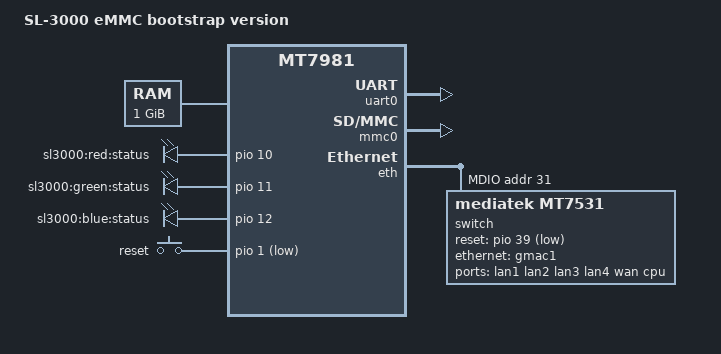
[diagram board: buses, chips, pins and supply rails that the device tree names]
// SPDX-License-Identifier: GPL-2.0-only
/dts-v1/;

#include <dt-bindings/interrupt-controller/arm-gic.h>
#include <dt-bindings/gpio/gpio.h>
#include <dt-bindings/input/input.h>

#include "mt7981-rfb.dtsi"

/ {
    compatible = "sl,sl3000-emmc", "mediatek,mt7981";
    model = "SL-3000 eMMC bootstrap version";

    chosen {
        bootargs = "console=ttyS0,115200n1 earlycon=uart8250,mmio32,0x11002000 root=PARTLABEL=rootfs rootwait rootfstype=squashfs,f2fs";
    };

    memory {
        device_type = "memory";
        reg = <0x0 0x40000000 0x0 0x40000000>; /* 1GB RAM */
    };

    aliases {
        led-boot    = &statusgreen;
        led-failsafe= &statusred;
        led-running = &statusgreen;
        led-upgrade = &statusblue;
    };
};

&uart0 {
    status = "okay";
};

&mmc0 {
    status = "okay";

    partitions {
        compatible = "fixed-partitions";
        #address-cells = <2>;
        #size-cells = <2>;

        partition@0 {
            label = "kernel";
            reg = <0x0 0x00000000 0x0 0x02000000>; /* 32MB */
        };

        partition@2000000 {
            label = "rootfs";
            reg = <0x0 0x02000000 0x0 0x20000000>; /* 512MB */
        };

        partition@22000000 {
            label = "rootfs_data";
            reg = <0x0 0x22000000 0x1 0x00000000>; /* 4GB */
        };

        partition@122000000 {
            label = "docker";
            reg = <0x0 0x122000000 0x0 0xEE0000000>; /* 60GB */
        };

        partition@522000000 {
            label = "swap";
            reg = <0x0 0x522000000 0x0 0x80000000>; /* 2GB */
        };

        partition@5a2000000 {
            label = "data";
            reg = <0x0 0x5A2000000 0x0 0xE40000000>; /* ~61GB */
        };
    };
};

&eth {
    status = "okay";

    gmac1: mac@1 {
        phy-mode = "2500base-x";
        fixed-link {
            speed = <2500>;
            full-duplex;
        };
    };

    mdio: mdio-bus {
        #address-cells = <1>;
        #size-cells = <0>;

        switch@1f {
            compatible = "mediatek,mt7531";
            reg = <0x1f>;
            reset-gpios = <&pio 39 GPIO_ACTIVE_LOW>; /* 建议确认极性 */

            ports {
                #address-cells = <1>;
                #size-cells = <0>;

                port@0 { reg = <0>; label = "lan1"; };
                port@1 { reg = <1>; label = "lan2"; };
                port@2 { reg = <2>; label = "lan3"; };
                port@3 { reg = <3>; label = "lan4"; };
                port@4 { reg = <4>; label = "wan"; };

                port@6 {
                    reg = <6>;
                    label = "cpu";
                    ethernet = <&gmac1>;
                    phy-mode = "2500base-x";
                    fixed-link {
                        speed = <2500>;
                        full-duplex;
                    };
                };
            };
        };
    };
};

&pio {
    leds {
        compatible = "gpio-leds";

        statusred: ledred {
            label = "sl3000:red:status";
            gpios = <&pio 10 GPIO_ACTIVE_HIGH>;
            default-state = "off";
        };

        statusgreen: ledgreen {
            label = "sl3000:green:status";
            gpios = <&pio 11 GPIO_ACTIVE_HIGH>;
            default-state = "off";
        };

        statusblue: ledblue {
            label = "sl3000:blue:status";
            gpios = <&pio 12 GPIO_ACTIVE_HIGH>;
            default-state = "off";
        };
    };

    gpio-keys {
        compatible = "gpio-keys";

        reset {
            label = "reset";
            gpios = <&pio 1 GPIO_ACTIVE_LOW>;
            linux,code = <KEY_RESTART>;
        };
    };
};
